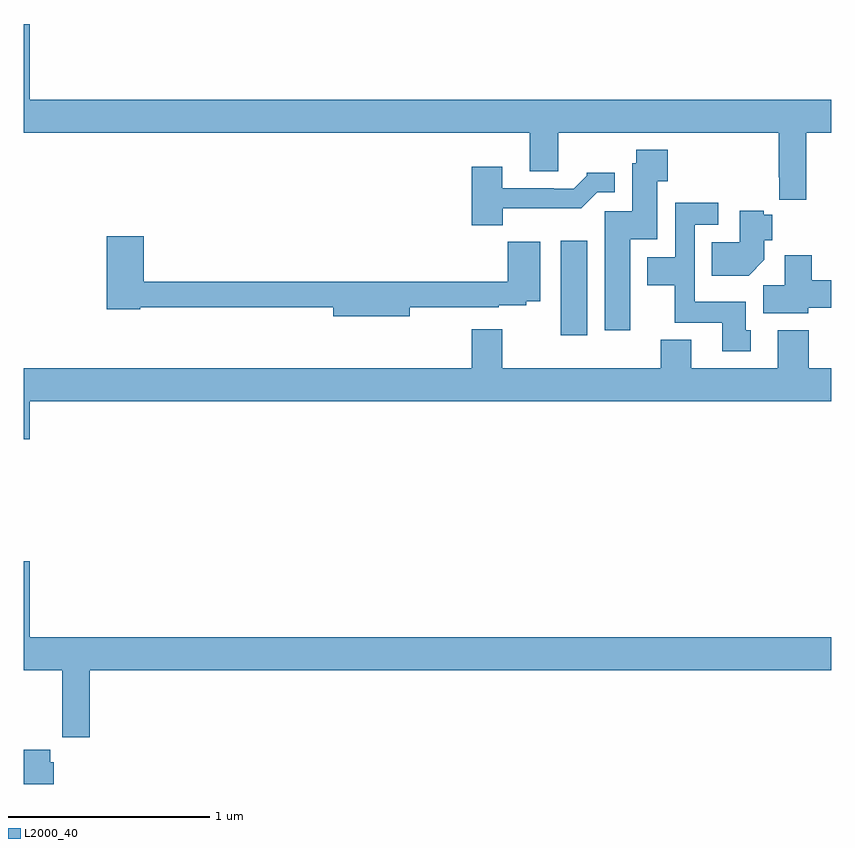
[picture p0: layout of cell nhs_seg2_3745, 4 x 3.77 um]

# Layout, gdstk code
import gdstk
lib = gdstk.Library(unit=1e-6, precision=1e-09)
def R(c, l, rs):  # rectangles x0, y0, x1, y1
    for r in rs: c.add(gdstk.rectangle(r[:2], r[2:], *l))
def P(c, l, *ps):  # polygons
    for p in ps: c.add(gdstk.Polygon(p, *l))
L2000_40 = (2000, 40)

nhs_seg2_3745 = lib.new_cell('nhs_seg2_3745')
R(nhs_seg2_3745, L2000_40, [(311.66,588.024,311.791,588.493)])
P(nhs_seg2_3745, L2000_40, [(312.878,589.028),(313,589.028),(313,589.192),(309.028,589.192),(309.028,589.567),(309,589.567),(309,589.028),(311.507,589.028),(311.507,588.838),(311.647,588.838),(311.647,589.028),(312.742,589.028),(312.742,588.808),(312.743,588.808),(312.743,588.696),(312.878,588.696)],
  [(312.004,588.5),(312.139,588.5),(312.139,588.787),(312.191,588.787),(312.191,588.943),(312.034,588.943),(312.034,588.876),(312.014,588.876),(312.014,588.639),(311.879,588.639),(311.879,588.048),(312.004,588.048)],
  [(311.374,588.654),(311.763,588.654),(311.841,588.732),(311.929,588.732),(311.929,588.829),(311.79,588.829),(311.79,588.814),(311.726,588.75),(311.627,588.75),(311.627,588.753),(311.371,588.753),(311.371,588.859),(311.219,588.859),(311.219,588.569),(311.374,588.569)],
  [(312.601,588.048),(312.577,588.048),(312.577,588.19),(312.324,588.19),(312.324,588.573),(312.442,588.573),(312.442,588.682),(312.228,588.682),(312.228,588.412),(312.089,588.412),(312.089,588.272),(312.226,588.272),(312.226,588.086),(312.461,588.086),(312.461,587.946),(312.601,587.946)],
  [(312.67,588.398),(312.67,588.494),(312.709,588.494),(312.709,588.622),(312.666,588.622),(312.666,588.642),(312.548,588.642),(312.548,588.484),(312.409,588.484),(312.409,588.32),(312.592,588.32)],
  [(310.912,588.162),(311.352,588.162),(311.352,588.173),(311.49,588.173),(311.49,588.194),(311.56,588.194),(311.56,588.487),(311.398,588.487),(311.398,588.29),(309.593,588.29),(309.593,588.514),(309.41,588.514),(309.41,588.154),(309.576,588.154),(309.576,588.162),(310.532,588.162),(310.532,588.119),(310.912,588.119)],
  [(312.888,588.161),(313,588.161),(313,588.296),(312.905,588.296),(312.905,588.421),(312.77,588.421),(312.77,588.272),(312.665,588.272),(312.665,588.134),(312.888,588.134)],
  [(309.028,587.696),(313,587.696),(313,587.86),(312.89,587.86),(312.89,588.049),(312.737,588.049),(312.737,587.86),(312.307,587.86),(312.307,588.001),(312.155,588.001),(312.155,587.86),(311.371,587.86),(311.371,588.055),(311.219,588.055),(311.219,587.86),(309,587.86),(309,587.508),(309.028,587.508)],
  [(309.326,586.364),(313,586.364),(313,586.528),(309.028,586.528),(309.028,586.903),(309,586.903),(309,586.364),(309.19,586.364),(309.19,586.032),(309.326,586.032)],
  [(309.147,585.909),(309.131,585.909),(309.131,585.97),(309,585.97),(309,585.8),(309.147,585.8)])

lib.write_gds('nhs_seg2_3745.gds')
